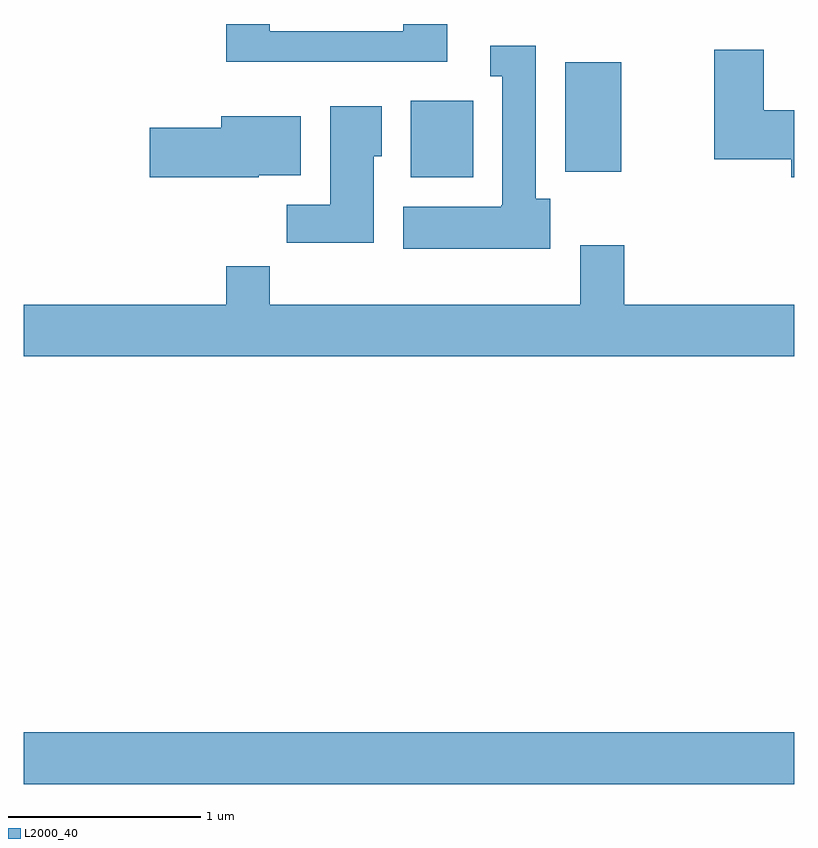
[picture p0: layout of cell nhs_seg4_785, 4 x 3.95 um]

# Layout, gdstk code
import gdstk
lib = gdstk.Library(unit=1e-6, precision=1e-09)
def R(c, l, rs):  # rectangles x0, y0, x1, y1
    for r in rs: c.add(gdstk.rectangle(r[:2], r[2:], *l))
def P(c, l, *ps):  # polygons
    for p in ps: c.add(gdstk.Polygon(p, *l))
L2000_40 = (2000, 40)

nhs_seg4_785 = lib.new_cell('nhs_seg4_785')
R(nhs_seg4_785, L2000_40, [(207.611,1328.036,211.611,1328.304), (209.621,1331.186,209.944,1331.584), (210.421,1331.216,210.714,1331.784)])
P(nhs_seg4_785, L2000_40, [(209.809,1331.982),(209.581,1331.982),(209.581,1331.944),(208.889,1331.944),(208.889,1331.982),(208.661,1331.982),(208.661,1331.786),(209.809,1331.786)],
  [(210.344,1331.074),(210.269,1331.074),(210.269,1331.869),(210.033,1331.869),(210.033,1331.711),(210.096,1331.711),(210.096,1331.04),(210.09,1331.04),(210.09,1331.034),(209.581,1331.034),(209.581,1330.816),(210.344,1330.816)],
  [(211.611,1331.534),(211.454,1331.534),(211.454,1331.849),(211.196,1331.849),(211.196,1331.281),(211.596,1331.281),(211.596,1331.186),(211.611,1331.186)],
  [(209.429,1331.296),(209.469,1331.296),(209.469,1331.554),(209.201,1331.554),(209.201,1331.044),(208.976,1331.044),(208.976,1330.846),(209.429,1330.846)],
  [(208.83,1331.196),(209.049,1331.196),(209.049,1331.504),(208.636,1331.504),(208.636,1331.444),(208.266,1331.444),(208.266,1331.186),(208.83,1331.186)],
  [(211.611,1330.524),(210.729,1330.524),(210.729,1330.834),(210.501,1330.834),(210.501,1330.524),(208.889,1330.524),(208.889,1330.724),(208.661,1330.724),(208.661,1330.524),(207.611,1330.524),(207.611,1330.256),(211.611,1330.256)])

lib.write_gds('nhs_seg4_785.gds')
